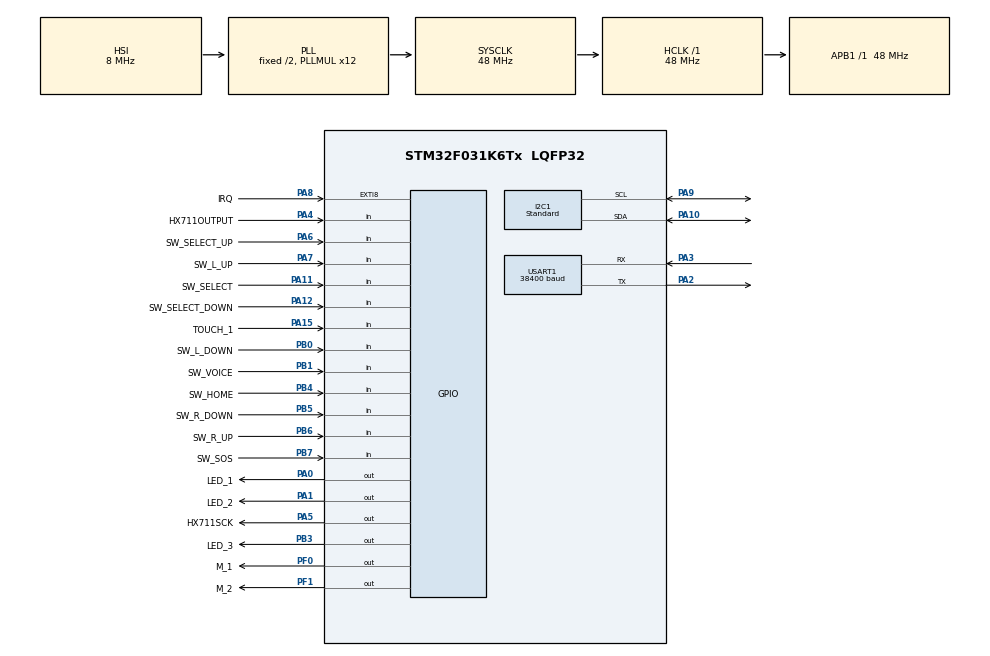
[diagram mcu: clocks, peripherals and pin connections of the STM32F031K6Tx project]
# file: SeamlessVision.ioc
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Dma.Request0=USART1_TX
Dma.Request1=USART1_RX
Dma.USART1_RX.1.Direction=DMA_PERIPH_TO_MEMORY
Dma.USART1_RX.1.Instance=DMA1_Channel3
Dma.USART1_RX.1.MemDataAlignment=DMA_MDATAALIGN_BYTE
Dma.USART1_RX.1.MemInc=DMA_MINC_ENABLE
Dma.USART1_RX.1.Mode=DMA_CIRCULAR
Dma.USART1_RX.1.PeriphDataAlignment=DMA_PDATAALIGN_BYTE
Dma.USART1_RX.1.PeriphInc=DMA_PINC_DISABLE
Dma.USART1_RX.1.Priority=DMA_PRIORITY_LOW
Dma.USART1_TX.0.Direction=DMA_MEMORY_TO_PERIPH
Dma.USART1_TX.0.Instance=DMA1_Channel4
Dma.USART1_TX.0.MemDataAlignment=DMA_MDATAALIGN_BYTE
Dma.USART1_TX.0.MemInc=DMA_MINC_ENABLE
Dma.USART1_TX.0.Mode=DMA_NORMAL
Dma.USART1_TX.0.PeriphDataAlignment=DMA_PDATAALIGN_BYTE
Dma.USART1_TX.0.PeriphInc=DMA_PINC_DISABLE
Dma.USART1_TX.0.Priority=DMA_PRIORITY_LOW
I2C1.I2C_Speed_Mode=I2C_Standard
I2C1.Speed=50
I2C1.Timing=0x00101D7C
Mcu.Family=STM32F0
Mcu.Name=STM32F031K6Tx
Mcu.Package=LQFP32
NVIC.DMA1_Channel2_3_IRQn=true\:0\:0\:false\:true\:true\:2\:false\:true
NVIC.DMA1_Channel4_5_IRQn=true\:0\:0\:false\:true\:true\:1\:false\:true
NVIC.EXTI4_15_IRQn=true\:0\:0\:false\:false\:true\:true\:true
NVIC.USART1_IRQn=true\:0\:0\:false\:true\:true\:3\:true\:true
PA0.GPIO_Label=LED_1
PA0.Signal=GPIO_Output
PA1.GPIO_Label=LED_2
PA1.Signal=GPIO_Output
PA10.Mode=I2C
PA10.Signal=I2C1_SDA
PA11.GPIO_Label=SW_SELECT
PA11.GPIO_PuPd=GPIO_PULLDOWN
PA11.Signal=GPIO_Input
PA12.GPIO_Label=SW_SELECT_DOWN
PA12.GPIO_PuPd=GPIO_PULLDOWN
PA12.Signal=GPIO_Input
PA13.Mode=Serial_Wire
PA13.Signal=SYS_SWDIO
PA14.Mode=Serial_Wire
PA14.Signal=SYS_SWCLK
PA15.GPIO_Label=TOUCH_1
PA15.GPIO_PuPd=GPIO_NOPULL
PA15.Signal=GPIO_Input
PA2.Mode=Asynchronous
PA2.Signal=USART1_TX
PA3.Mode=Asynchronous
PA3.Signal=USART1_RX
PA4.GPIO_Label=HX711OUTPUT
PA4.GPIO_PuPd=GPIO_PULLDOWN
PA4.Signal=GPIO_Input
PA5.GPIO_Label=HX711SCK
PA5.GPIO_PuPd=GPIO_NOPULL
PA5.Signal=GPIO_Output
PA6.GPIO_Label=SW_SELECT_UP
PA6.GPIO_PuPd=GPIO_PULLDOWN
PA6.Signal=GPIO_Input
PA7.GPIO_Label=SW_L_UP
PA7.GPIO_PuPd=GPIO_PULLDOWN
PA7.Signal=GPIO_Input
PA8.GPIO_Label=IRQ
PA8.GPIO_PuPd=GPIO_PULLUP
PA8.Signal=GPXTI8
PA9.Mode=I2C
PA9.Signal=I2C1_SCL
PB0.GPIO_Label=SW_L_DOWN
PB0.GPIO_PuPd=GPIO_PULLDOWN
PB0.Signal=GPIO_Input
PB1.GPIO_Label=SW_VOICE
PB1.GPIO_PuPd=GPIO_PULLDOWN
PB1.Signal=GPIO_Input
PB3.GPIO_Label=LED_3
PB3.Signal=GPIO_Output
PB4.GPIO_Label=SW_HOME
PB4.GPIO_PuPd=GPIO_PULLDOWN
PB4.Signal=GPIO_Input
PB5.GPIO_Label=SW_R_DOWN
PB5.GPIO_PuPd=GPIO_PULLDOWN
PB5.Signal=GPIO_Input
PB6.GPIO_Label=SW_R_UP
PB6.GPIO_PuPd=GPIO_PULLDOWN
PB6.Signal=GPIO_Input
PB7.GPIO_Label=SW_SOS
PB7.GPIO_PuPd=GPIO_PULLDOWN
PB7.Signal=GPIO_Input
PF0-OSC_IN.GPIO_Label=M_1
PF0-OSC_IN.GPIO_ModeDefaultOutputPP=GPIO_MODE_OUTPUT_PP
PF0-OSC_IN.GPIO_PuPd=GPIO_PULLDOWN
PF0-OSC_IN.Signal=GPIO_Output
PF1-OSC_OUT.GPIO_Label=M_2
PF1-OSC_OUT.GPIO_ModeDefaultOutputPP=GPIO_MODE_OUTPUT_PP
PF1-OSC_OUT.GPIO_PuPd=GPIO_PULLDOWN
PF1-OSC_OUT.PinState=GPIO_PIN_RESET
PF1-OSC_OUT.Signal=GPIO_Output
ProjectManager.HeapSize=0x200
ProjectManager.StackSize=0x400
ProjectManager.TargetToolchain=STM32CubeIDE
RCC.AHBFreq_Value=48000000
RCC.APB1Freq_Value=48000000
RCC.APB1TimFreq_Value=48000000
RCC.HCLKFreq_Value=48000000
RCC.PLLMUL=RCC_PLL_MUL12
RCC.SYSCLKFreq_VALUE=48000000
RCC.SYSCLKSource=RCC_SYSCLKSOURCE_PLLCLK
USART1.BaudRate=38400
USART1.VirtualMode-Asynchronous=VM_ASYNC
VP_TIM1_VS_ClockSourceITR.Mode=TriggerSource_ITR0
VP_TIM1_VS_ControllerModeClock.Mode=Clock Mode
board=custom

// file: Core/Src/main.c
/* USER CODE BEGIN Header */
/**
 ******************************************************************************
 * @file           : main.c
 * @brief          : Main program body
 ******************************************************************************
 * @attention
 *
 * <h2><center>&copy; Copyright (c) 2020 STMicroelectronics.
 * All rights reserved.</center></h2>
 *
 * This software component is licensed by ST under BSD 3-Clause license,
 * the "License"; You may not use this file except in compliance with the
 * License. You may obtain a copy of the License at:
 *                        opensource.org/licenses/BSD-3-Clause
 *
 ******************************************************************************
 */
/* USER CODE END Header */

#include "main.h"

/* USER CODE BEGIN Includes */
#include "stm32fxxx_hal.h"

#include "tm_stm32_delay.h"
#include "tm_stm32_button.h"
#include "hx711.h"
#include "timer_delay_us.h"

/* USER CODE END Includes */

/* USER CODE BEGIN PM */
#define ARRAY_LEN(x)            (sizeof(x) / sizeof((x)[0]))
/* USER CODE END PM */

I2C_HandleTypeDef hi2c1;

TIM_HandleTypeDef htim1;

UART_HandleTypeDef huart1;
DMA_HandleTypeDef hdma_usart1_tx;
DMA_HandleTypeDef hdma_usart1_rx;

/* USER CODE BEGIN PV */

#define LOG_ENABLED 					0

//Report types
#define UART_DATA_TYPE_LOAD_CELL		0x00
#define UART_DATA_TYPE_BTN				0x01
#define UART_DATA_TYPE_TOUCH			0x02
#define UART_DATA_TYPE_TOUCH_RELEASE	0x03
#define UART_DATA_TYPE_VERSION			0x04

//Request types
#define UART_DATA_TYPE_VERSION_REQUEST	0x80
#define UART_DATA_TYPE_MOTOR_REQUEST	0x81

#define APP_VER							0x01

#define RXBUFFERSIZE        10	/* Size of Reception buffer */
#define TXBUFFERSIZE        50	/* Size of Transmit buffer */
#define PRINT_BUFFER_SIZE	100

/* Button pointer */
TM_BUTTON_t *BTN_HOME;
TM_BUTTON_t *BTN_SELECT;
TM_BUTTON_t *BTN_SELECT_DOWN;
TM_BUTTON_t *BTN_SELECT_UP;
TM_BUTTON_t *BTN_L_UP;
TM_BUTTON_t *BTN_L_DOWN;
TM_BUTTON_t *BTN_VOICE;
TM_BUTTON_t *BTN_R_DOWN;
TM_BUTTON_t *BTN_R_UP;
TM_BUTTON_t *BTN_SOS;

TM_BUTTON_t *BTN_TOUCH;

//Update Timer
TM_DELAY_Timer_t *SWTIM1;

uint8_t rx_uart_buffer[RXBUFFERSIZE] = { 0 }; /* Buffer used for reception */
uint8_t tx_uart_buffer[TXBUFFERSIZE] = { 0 }; /* Buffer used for transmit */
uint8_t tx_uart_buffer_size = 0;

static uint8_t uart_buffer[RXBUFFERSIZE] = { 0 };
static uint8_t uart_buffer_pos = 0;

HX711 HX711_sensor;
uint32_t HX711_val;

/* USER CODE END PV */

void SystemClock_Config(void);
static void MX_GPIO_Init(void);
static void MX_DMA_Init(void);
static void MX_I2C1_Init(void);
static void MX_TIM1_Init(void);
static void MX_USART1_UART_Init(void);
static void MX_NVIC_Init(void);
/* USER CODE BEGIN PFP */

/* Button callback function */
static void BUTTON_Callback(TM_BUTTON_t *ButtonPtr, TM_BUTTON_PressType_t PressType);
void SWTIM1_Callback(TM_DELAY_Timer_t *SWTIM, void *UserParameters);

void usart_process_data(const void *data, size_t len);
void request_data_check();
void send_app_ver();

void HAL_printf_valist(const char *fmt, va_list argp);
void HAL_printf(const char *fmt, ...);
static void logPrint(uint8_t level, const char *fmt, va_list argp);

/* USER CODE END PFP */

/* USER CODE BEGIN 0 */

/* Implement handler function */
static void BUTTON_Callback(TM_BUTTON_t *ButtonPtr, TM_BUTTON_PressType_t PressType) {
	uint8_t bytes[2];
	bytes[0] = ButtonPtr->idx;
	bytes[1] = PressType;

	UART_TX_DATA(UART_DATA_TYPE_BTN, bytes, sizeof(bytes));
	logI("BUTTON_Callback Button:%d PressType:%d\r\n", ButtonPtr->idx, PressType);

	HAL_GPIO_TogglePin(LED_1_GPIO_Port, LED_1_Pin);

	/* Normal press detected */
	if (PressType == TM_BUTTON_PressType_Normal) {
		if (ButtonPtr == BTN_HOME) {
			//HAL_GPIO_TogglePin(LED_1_GPIO_Port, LED_1_Pin);
		}
	} else if (PressType == TM_BUTTON_PressType_Long) {
		//HAL_GPIO_TogglePin(LED_2_GPIO_Port, LED_2_Pin);
	}
}

void usart_rx_check(void) {
	static size_t old_pos;
	size_t pos;

	/* Calculate current position in buffer */
	pos = RXBUFFERSIZE - huart1.hdmarx->Instance->CNDTR;
	if (pos != old_pos) { /* Check change in received data */
		if ((pos == 0 && rx_uart_buffer[RXBUFFERSIZE - 1] == 0x0A) || rx_uart_buffer[pos - 1] == 0x0A) {
			if (pos > old_pos) { /* Current position is over previous one */
				/* We are in "linear" mode */
				/* Process data directly by subtracting "pointers" */
				usart_process_data(&rx_uart_buffer[old_pos], pos - old_pos);
			} else {
				/* We are in "overflow" mode */
				/* First process data to the end of buffer */
				usart_process_data(&rx_uart_buffer[old_pos], ARRAY_LEN(rx_uart_buffer) - old_pos);
				/* Check and continue with beginning of buffer */
				if (pos > 0) {
					usart_process_data(&rx_uart_buffer[0], pos);
				}
			}

			old_pos = pos; /* Save current position as old */

			/* Check and manually update if we reached end of buffer */
			if (old_pos == ARRAY_LEN(rx_uart_buffer)) {
				old_pos = 0;
			}

			uart_buffer_pos = 0;
			request_data_check();
		}
	}
}

void usart_process_data(const void *data, size_t len) {
	const uint8_t *d = data;

	for (; len > 0; --len, ++d, uart_buffer_pos++) {
		uart_buffer[uart_buffer_pos] = *d;
	}
}

void request_data_check(void) {
	if (uart_buffer[0] == '$' || uart_buffer[1] == 'H') {
		switch (uart_buffer[2]) {
		case UART_DATA_TYPE_VERSION_REQUEST:
			send_app_ver();
			break;
		case UART_DATA_TYPE_MOTOR_REQUEST:
			if (uart_buffer[3] == 1) // Vibrating motor 1
					{
				HAL_GPIO_WritePin(M_1_GPIO_Port, M_1_Pin, uart_buffer[4]);
				HAL_GPIO_WritePin(LED_2_GPIO_Port, LED_2_Pin, uart_buffer[4]);
			} else if (uart_buffer[3] == 2) // Vibrating motor 2
					{
				HAL_GPIO_WritePin(M_2_GPIO_Port, M_2_Pin, uart_buffer[4]);
				HAL_GPIO_WritePin(LED_2_GPIO_Port, LED_2_Pin, uart_buffer[4]);
			}
			break;
		default:
			break;
		}
	}
}

/* USER CODE END 0 */

int main(void) {
	/* USER CODE BEGIN 1 */

	/* Init Load Cell A/D HX711 */
	HX711_sensor.gpioSck = HX711SCK_GPIO_Port;
	HX711_sensor.gpioData = HX711OUTPUT_GPIO_Port;
	HX711_sensor.pinSck = HX711SCK_Pin;
	HX711_sensor.pinData = HX711OUTPUT_Pin;
	HX711_sensor.offset = 0;
	HX711_sensor.gain = 1; // channel A, gain factor 128

	/* USER CODE END 1 */

	/* MCU Configuration--------------------------------------------------------*/

	/* Reset of all peripherals, Initializes the Flash interface and the Systick. */
	HAL_Init();

	/* Configure the system clock */
	SystemClock_Config();

	/* Initialize all configured peripherals */
	MX_GPIO_Init();
	MX_DMA_Init();
	MX_I2C1_Init();
	MX_TIM1_Init();
	MX_USART1_UART_Init();

	/* Initialize interrupts */
	MX_NVIC_Init();
	/* USER CODE BEGIN 2 */

	logI("SeamlessVision Start!\r\n");

	/* Init Load Cell A/D HX711 */
	HX711_Init(HX711_sensor);

	/* Init delay */
	TM_DELAY_Init();

	//Set Load Cell frequency (ms)
#if LOG_ENABLED
	SWTIM1 = TM_DELAY_TimerCreate(500, 1, 1, SWTIM1_Callback, NULL);
#else
	SWTIM1 = TM_DELAY_TimerCreate(500, 1, 1, SWTIM1_Callback, NULL);
#endif

	/* Init button: idx, PORT, PIN, STATE when PRESSED */
	BTN_HOME = TM_BUTTON_Init(1, SW_HOME_GPIO_Port, SW_HOME_Pin, TM_BUTTON_PressType_Normal, BUTTON_Callback);
	BTN_SELECT = TM_BUTTON_Init(2, SW_SELECT_GPIO_Port, SW_SELECT_Pin, TM_BUTTON_PressType_Normal, BUTTON_Callback);
	BTN_SELECT_DOWN = TM_BUTTON_Init(3, SW_SELECT_DOWN_GPIO_Port, SW_SELECT_DOWN_Pin, TM_BUTTON_PressType_Normal, BUTTON_Callback);
	BTN_SELECT_UP = TM_BUTTON_Init(4, SW_SELECT_UP_GPIO_Port, SW_SELECT_UP_Pin, TM_BUTTON_PressType_Normal, BUTTON_Callback);
	BTN_L_UP = TM_BUTTON_Init(5, SW_L_UP_GPIO_Port, SW_L_UP_Pin, TM_BUTTON_PressType_Normal, BUTTON_Callback);
	BTN_L_DOWN = TM_BUTTON_Init(6, SW_L_DOWN_GPIO_Port, SW_L_DOWN_Pin, TM_BUTTON_PressType_Normal, BUTTON_Callback);
	BTN_VOICE = TM_BUTTON_Init(7, SW_VOICE_GPIO_Port, SW_VOICE_Pin, TM_BUTTON_PressType_Normal, BUTTON_Callback);
	BTN_R_DOWN = TM_BUTTON_Init(8, SW_R_DOWN_GPIO_Port, SW_R_DOWN_Pin, TM_BUTTON_PressType_Normal, BUTTON_Callback);
	BTN_R_UP = TM_BUTTON_Init(9, SW_R_UP_GPIO_Port, SW_R_UP_Pin, TM_BUTTON_PressType_Normal, BUTTON_Callback);
	BTN_SOS = TM_BUTTON_Init(10, SW_SOS_GPIO_Port, SW_SOS_Pin, TM_BUTTON_PressType_Normal, BUTTON_Callback);

	BTN_TOUCH = TM_BUTTON_Init(11, TOUCH_1_GPIO_Port, TOUCH_1_Pin, TM_BUTTON_PressType_Normal, BUTTON_Callback);

	/* Init all buttons */
	/* Set time how button is detected, 30 ms for normal press, 2000 ms for long press */
	TM_BUTTON_SetPressTime(BTN_HOME, 30, 2000);
	TM_BUTTON_SetPressTime(BTN_SELECT, 30, 2000);
	TM_BUTTON_SetPressTime(BTN_SELECT_DOWN, 30, 2000);
	TM_BUTTON_SetPressTime(BTN_SELECT_UP, 30, 2000);
	TM_BUTTON_SetPressTime(BTN_L_UP, 30, 2000);
	TM_BUTTON_SetPressTime(BTN_L_DOWN, 30, 2000);
	TM_BUTTON_SetPressTime(BTN_VOICE, 30, 2000);
	TM_BUTTON_SetPressTime(BTN_R_DOWN, 30, 2000);
	TM_BUTTON_SetPressTime(BTN_R_UP, 30, 2000);
	TM_BUTTON_SetPressTime(BTN_SOS, 30, 2000);

	TM_BUTTON_SetPressTime(BTN_TOUCH, 30, 2000);

	logI("Started successfully\r\n");
	HAL_UART_Receive_DMA(&huart1, (uint8_t*) rx_uart_buffer, RXBUFFERSIZE);

	/* USER CODE END 2 */

	/* Infinite loop */
	while (1) {

		/* USER CODE BEGIN 3 */

		/* Update all buttons */
		TM_BUTTON_Update();
		usart_rx_check();
	}
	/* USER CODE END 3 */
}

void SystemClock_Config(void) {
	RCC_OscInitTypeDef RCC_OscInitStruct = { 0 };
	RCC_ClkInitTypeDef RCC_ClkInitStruct = { 0 };
	RCC_PeriphCLKInitTypeDef PeriphClkInit = { 0 };

	/** Initializes the CPU, AHB and APB busses clocks
	 */
	RCC_OscInitStruct.OscillatorType = RCC_OSCILLATORTYPE_HSI;
	RCC_OscInitStruct.HSIState = RCC_HSI_ON;
	RCC_OscInitStruct.HSICalibrationValue = RCC_HSICALIBRATION_DEFAULT;
	RCC_OscInitStruct.PLL.PLLState = RCC_PLL_ON;
	RCC_OscInitStruct.PLL.PLLSource = RCC_PLLSOURCE_HSI;
	RCC_OscInitStruct.PLL.PLLMUL = RCC_PLL_MUL12;
	RCC_OscInitStruct.PLL.PREDIV = RCC_PREDIV_DIV1;
	if (HAL_RCC_OscConfig(&RCC_OscInitStruct) != HAL_OK) {
		Error_Handler();
	}
	/** Initializes the CPU, AHB and APB busses clocks
	 */
	RCC_ClkInitStruct.ClockType = RCC_CLOCKTYPE_HCLK | RCC_CLOCKTYPE_SYSCLK | RCC_CLOCKTYPE_PCLK1;
	RCC_ClkInitStruct.SYSCLKSource = RCC_SYSCLKSOURCE_PLLCLK;
	RCC_ClkInitStruct.AHBCLKDivider = RCC_SYSCLK_DIV1;
	RCC_ClkInitStruct.APB1CLKDivider = RCC_HCLK_DIV1;

	if (HAL_RCC_ClockConfig(&RCC_ClkInitStruct, FLASH_LATENCY_1) != HAL_OK) {
		Error_Handler();
	}
	PeriphClkInit.PeriphClockSelection = RCC_PERIPHCLK_USART1 | RCC_PERIPHCLK_I2C1;
	PeriphClkInit.Usart1ClockSelection = RCC_USART1CLKSOURCE_PCLK1;
	PeriphClkInit.I2c1ClockSelection = RCC_I2C1CLKSOURCE_HSI;
	if (HAL_RCCEx_PeriphCLKConfig(&PeriphClkInit) != HAL_OK) {
		Error_Handler();
	}
}

/**
 * @brief NVIC Configuration.
 * @retval None
 */
static void MX_NVIC_Init(void) {
	/* DMA1_Channel4_5_IRQn interrupt configuration */
	HAL_NVIC_SetPriority(DMA1_Channel4_5_IRQn, 0, 0);
	HAL_NVIC_EnableIRQ(DMA1_Channel4_5_IRQn);
	/* DMA1_Channel2_3_IRQn interrupt configuration */
	HAL_NVIC_SetPriority(DMA1_Channel2_3_IRQn, 0, 0);
	HAL_NVIC_EnableIRQ(DMA1_Channel2_3_IRQn);
	/* USART1_IRQn interrupt configuration */
	HAL_NVIC_SetPriority(USART1_IRQn, 0, 0);
	HAL_NVIC_EnableIRQ(USART1_IRQn);
}

static void MX_I2C1_Init(void) {

	hi2c1.Instance = I2C1;
	hi2c1.Init.Timing = 0x00101D7C;
	hi2c1.Init.OwnAddress1 = 0;
	hi2c1.Init.AddressingMode = I2C_ADDRESSINGMODE_7BIT;
	hi2c1.Init.DualAddressMode = I2C_DUALADDRESS_DISABLE;
	hi2c1.Init.OwnAddress2 = 0;
	hi2c1.Init.OwnAddress2Masks = I2C_OA2_NOMASK;
	hi2c1.Init.GeneralCallMode = I2C_GENERALCALL_DISABLE;
	hi2c1.Init.NoStretchMode = I2C_NOSTRETCH_DISABLE;
	if (HAL_I2C_Init(&hi2c1) != HAL_OK) {
		Error_Handler();
	}
	/** Configure Analogue filter
	 */
	if (HAL_I2CEx_ConfigAnalogFilter(&hi2c1, I2C_ANALOGFILTER_ENABLE) != HAL_OK) {
		Error_Handler();
	}
	/** Configure Digital filter
	 */
	if (HAL_I2CEx_ConfigDigitalFilter(&hi2c1, 0) != HAL_OK) {
		Error_Handler();
	}

}

static void MX_TIM1_Init(void) {

	TIM_SlaveConfigTypeDef sSlaveConfig = { 0 };
	TIM_MasterConfigTypeDef sMasterConfig = { 0 };

	htim1.Instance = TIM1;
	htim1.Init.Prescaler = 0;
	htim1.Init.CounterMode = TIM_COUNTERMODE_UP;
	htim1.Init.Period = 0;
	htim1.Init.ClockDivision = TIM_CLOCKDIVISION_DIV1;
	htim1.Init.RepetitionCounter = 0;
	htim1.Init.AutoReloadPreload = TIM_AUTORELOAD_PRELOAD_DISABLE;
	if (HAL_TIM_Base_Init(&htim1) != HAL_OK) {
		Error_Handler();
	}
	sSlaveConfig.SlaveMode = TIM_SLAVEMODE_EXTERNAL1;
	sSlaveConfig.InputTrigger = TIM_TS_ITR0;
	if (HAL_TIM_SlaveConfigSynchro(&htim1, &sSlaveConfig) != HAL_OK) {
		Error_Handler();
	}
	sMasterConfig.MasterOutputTrigger = TIM_TRGO_RESET;
	sMasterConfig.MasterSlaveMode = TIM_MASTERSLAVEMODE_DISABLE;
	if (HAL_TIMEx_MasterConfigSynchronization(&htim1, &sMasterConfig) != HAL_OK) {
		Error_Handler();
	}

}

static void MX_USART1_UART_Init(void) {

	huart1.Instance = USART1;
	huart1.Init.BaudRate = 38400;
	huart1.Init.WordLength = UART_WORDLENGTH_8B;
	huart1.Init.StopBits = UART_STOPBITS_1;
	huart1.Init.Parity = UART_PARITY_NONE;
	huart1.Init.Mode = UART_MODE_TX_RX;
	huart1.Init.HwFlowCtl = UART_HWCONTROL_NONE;
	huart1.Init.OverSampling = UART_OVERSAMPLING_16;
	huart1.Init.OneBitSampling = UART_ONE_BIT_SAMPLE_DISABLE;
	huart1.AdvancedInit.AdvFeatureInit = UART_ADVFEATURE_NO_INIT;
	if (HAL_UART_Init(&huart1) != HAL_OK) {
		Error_Handler();
	}

}

static void MX_DMA_Init(void) {

	/* DMA controller clock enable */
	__HAL_RCC_DMA1_CLK_ENABLE();

}

static void MX_GPIO_Init(void) {
	GPIO_InitTypeDef GPIO_InitStruct = { 0 };

	/* GPIO Ports Clock Enable */
	__HAL_RCC_GPIOF_CLK_ENABLE();
	__HAL_RCC_GPIOA_CLK_ENABLE();
	__HAL_RCC_GPIOB_CLK_ENABLE();

	/*Configure GPIO pin Output Level */
	HAL_GPIO_WritePin(GPIOF, M_1_Pin | M_2_Pin, GPIO_PIN_RESET);

	/*Configure GPIO pin Output Level */
	HAL_GPIO_WritePin(GPIOA, LED_1_Pin | LED_2_Pin | HX711SCK_Pin, GPIO_PIN_RESET);

	/*Configure GPIO pin Output Level */
	HAL_GPIO_WritePin(LED_3_GPIO_Port, LED_3_Pin, GPIO_PIN_RESET);

	/*Configure GPIO pins : M_1_Pin M_2_Pin */
	GPIO_InitStruct.Pin = M_1_Pin | M_2_Pin;
	GPIO_InitStruct.Mode = GPIO_MODE_OUTPUT_PP;
	GPIO_InitStruct.Pull = GPIO_PULLDOWN;
	GPIO_InitStruct.Speed = GPIO_SPEED_FREQ_LOW;
	HAL_GPIO_Init(GPIOF, &GPIO_InitStruct);

	/*Configure GPIO pins : LED_1_Pin LED_2_Pin HX711SCK_Pin */
	GPIO_InitStruct.Pin = LED_1_Pin | LED_2_Pin | HX711SCK_Pin;
	GPIO_InitStruct.Mode = GPIO_MODE_OUTPUT_PP;
	GPIO_InitStruct.Pull = GPIO_NOPULL;
	GPIO_InitStruct.Speed = GPIO_SPEED_FREQ_LOW;
	HAL_GPIO_Init(GPIOA, &GPIO_InitStruct);

	/*Configure GPIO pins : HX711OUTPUT_Pin SW_SELECT_UP_Pin SW_L_UP_Pin SW_SELECT_Pin
	 SW_SELECT_DOWN_Pin */
	GPIO_InitStruct.Pin = HX711OUTPUT_Pin | SW_SELECT_UP_Pin | SW_L_UP_Pin | SW_SELECT_Pin | SW_SELECT_DOWN_Pin;
	GPIO_InitStruct.Mode = GPIO_MODE_INPUT;
	GPIO_InitStruct.Pull = GPIO_PULLDOWN;
	HAL_GPIO_Init(GPIOA, &GPIO_InitStruct);

	/*Configure GPIO pins : SW_L_DOWN_Pin SW_VOICE_Pin SW_HOME_Pin SW_R_DOWN_Pin
	 SW_R_UP_Pin SW_SOS_Pin */
	GPIO_InitStruct.Pin = SW_L_DOWN_Pin | SW_VOICE_Pin | SW_HOME_Pin | SW_R_DOWN_Pin | SW_R_UP_Pin | SW_SOS_Pin;
	GPIO_InitStruct.Mode = GPIO_MODE_INPUT;
	GPIO_InitStruct.Pull = GPIO_PULLDOWN;
	HAL_GPIO_Init(GPIOB, &GPIO_InitStruct);

	/*Configure GPIO pin : IRQ_Pin */
	GPIO_InitStruct.Pin = IRQ_Pin;
	GPIO_InitStruct.Mode = GPIO_MODE_IT_RISING;
	GPIO_InitStruct.Pull = GPIO_PULLUP;
	HAL_GPIO_Init(IRQ_GPIO_Port, &GPIO_InitStruct);

	/*Configure GPIO pin : TOUCH_1_Pin */
	GPIO_InitStruct.Pin = TOUCH_1_Pin;
	GPIO_InitStruct.Mode = GPIO_MODE_INPUT;
	GPIO_InitStruct.Pull = GPIO_NOPULL;
	HAL_GPIO_Init(TOUCH_1_GPIO_Port, &GPIO_InitStruct);

	/*Configure GPIO pin : LED_3_Pin */
	GPIO_InitStruct.Pin = LED_3_Pin;
	GPIO_InitStruct.Mode = GPIO_MODE_OUTPUT_PP;
	GPIO_InitStruct.Pull = GPIO_NOPULL;
	GPIO_InitStruct.Speed = GPIO_SPEED_FREQ_LOW;
	HAL_GPIO_Init(LED_3_GPIO_Port, &GPIO_InitStruct);

	/* EXTI interrupt init*/
	HAL_NVIC_SetPriority(EXTI4_15_IRQn, 0, 0);
	HAL_NVIC_EnableIRQ(EXTI4_15_IRQn);

}

/* USER CODE BEGIN 4 */

/* Callback function for SWTIM1 */
void SWTIM1_Callback(TM_DELAY_Timer_t *SWTIM, void *UserParameters) {
	HX711_val = HX711_Value(HX711_sensor);
	//HX711_val = HX711_AverageValue(hx11, 5);

	logI("HX711 Val:%d\r\n", HX711_val);

	uint8_t *bytes = (uint8_t*) &HX711_val;
	/*
	 uint8_t bytes[4];
	 bytes[0] = (HX711_val >> 0)  & 0xFF;
	 bytes[1] = (HX711_val >> 8)  & 0xFF;
	 bytes[2] = (HX711_val >> 16) & 0xFF;
	 bytes[3] = (HX711_val >> 24) & 0xFF;
	 */

	UART_TX_DATA(UART_DATA_TYPE_LOAD_CELL, bytes, sizeof(bytes));
}

void UART_TX_DATA(uint8_t type, uint8_t *data, uint8_t size) {
#if LOG_ENABLED
	return;
#else
	uint8_t i, j;
	uint8_t tx_uart_size = size + 5;

	uint32_t uart_busy = 0;

	tx_uart_buffer[0] = '$';
	tx_uart_buffer[1] = 'H';
	tx_uart_buffer[2] = type;

	for (i = 3, j = 0; j < size; i++, j++)
		tx_uart_buffer[i] = data[j];

	tx_uart_buffer[tx_uart_size - 2] = '\r';
	tx_uart_buffer[tx_uart_size - 1] = '\n';

	while (HAL_UART_GetState(&huart1) != HAL_UART_STATE_READY && HAL_UART_GetState(&huart1) != HAL_UART_STATE_BUSY_RX) {
		uart_busy++;
		if(uart_busy>10000)
			return;
	}

	if (HAL_UART_Transmit_DMA(&huart1, tx_uart_buffer, tx_uart_size) != HAL_OK) {
		Error_Handler();
	}
#endif
}

void send_app_ver() {
	uint8_t bytes[3];
	bytes[0] = APP_VER;
	bytes[1] = APP_VER;
	bytes[2] = APP_VER;

	UART_TX_DATA(UART_DATA_TYPE_VERSION, bytes, sizeof(bytes));
}

// Tx Transfer completed callback
void HAL_UART_TxCpltCallback(UART_HandleTypeDef *UartHandle) {
	//HAL_GPIO_TogglePin(LED_1_GPIO_Port, LED_1_Pin);
	//__NOP();
}

//Rx Transfer completed callback
void HAL_UART_RxCpltCallback(UART_HandleTypeDef *UartHandle) {

}

//UART error callbacks
void HAL_UART_ErrorCallback(UART_HandleTypeDef *UartHandle) {
	Error_Handler();
}

/**
 * @brief EXTI line detection callbacks
 * @param GPIO_Pin: Specifies the pins connected EXTI line
 * @retval None
 */
void HAL_GPIO_EXTI_Callback(uint16_t GPIO_Pin) {
	if (GPIO_Pin == GPIO_PIN_8) {

	}
}

void HAL_printf_valist(const char *fmt, va_list argp) {
	char string[PRINT_BUFFER_SIZE];
	if (vsprintf(string, fmt, argp) > 0) {
		if (HAL_UART_Transmit(&huart1, (uint8_t*) string, strlen(string), HAL_MAX_DELAY) != HAL_OK) {
			return;
			//Error_Handler();
		}
	} else {
		if (HAL_UART_Transmit(&huart1, (uint8_t*) "E - Print\n", 14, HAL_MAX_DELAY) != HAL_OK) {
			return;
			//Error_Handler();
		}
	}
}

/** Custom printf function, only translate to va_list arg HAL_UART.
 * @param *fmt String to print
 * @param ... Data
 */
void HAL_printf(const char *fmt, ...) {
	va_list argp;

	va_start(argp, fmt);
	HAL_printf_valist(fmt, argp);
	va_end(argp);
}

/** Generic LOG procedure
 * @param Log level
 * @param *fmt String to print
 * @param argp Parameters list
 */
static void logPrint(uint8_t level, const char *fmt, va_list argp) {
	HAL_printf("%c - ", level);
	HAL_printf_valist(fmt, argp);
}

/** LOG procedure - Info
 * @param *fmt String to print
 * @param ... Parameters list
 */
void logI(const char *fmt, ...) {
#if LOG_ENABLED
	va_list argp;

	va_start(argp, fmt);
	logPrint('I', fmt, argp);
	va_end(argp);
#else
	return;
#endif

}

/** LOG procedure - Error
 * @param *fmt String to print
 * @param .. Parameters list
 */
void logE(const char *fmt, ...) {
#if LOG_ENABLED
	va_list argp;

	va_start(argp, fmt);
	logPrint('E', fmt, argp);
	va_end(argp);
#else
	return;
#endif

}

/* USER CODE END 4 */

void Error_Handler(void) {
	/* USER CODE BEGIN Error_Handler_Debug */
	/* User can add his own implementation to report the HAL error return state */

	for (uint8_t i = 0; i < 3; i++) {
		HAL_GPIO_TogglePin(LED_3_GPIO_Port, LED_3_Pin);
		HAL_Delay(1000);
	}

	NVIC_SystemReset();

	/* USER CODE END Error_Handler_Debug */
}

/************************ (C) COPYRIGHT STMicroelectronics *****END OF FILE****/
